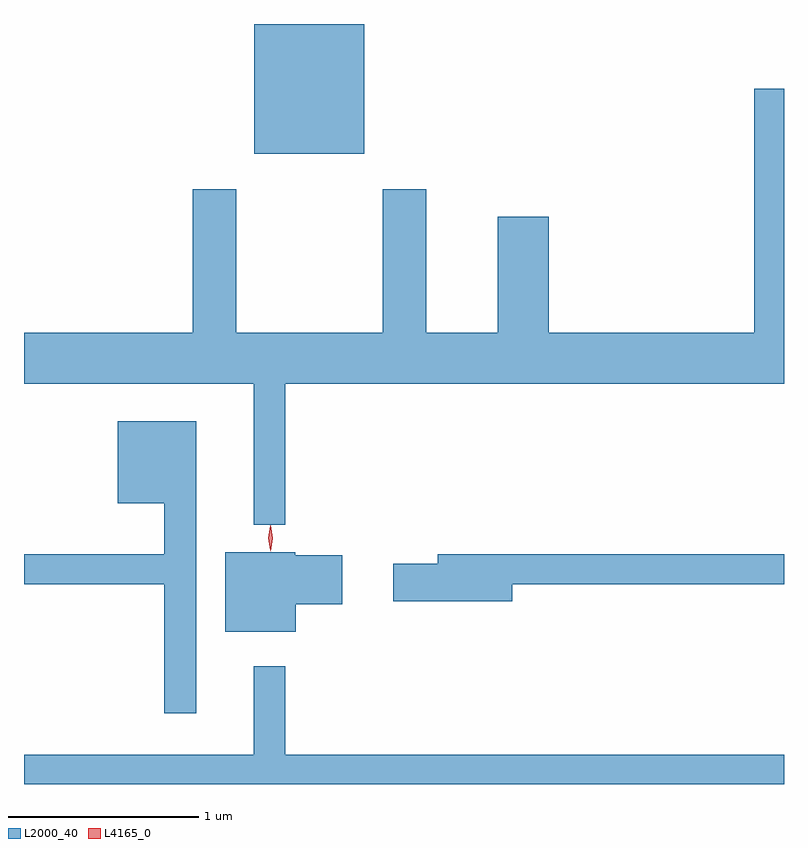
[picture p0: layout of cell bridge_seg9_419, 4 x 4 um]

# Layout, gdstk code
import gdstk
lib = gdstk.Library(unit=1e-6, precision=1e-09)
def R(c, l, rs):  # rectangles x0, y0, x1, y1
    for r in rs: c.add(gdstk.rectangle(r[:2], r[2:], *l))
def P(c, l, *ps):  # polygons
    for p in ps: c.add(gdstk.Polygon(p, *l))
L2000_40 = (2000, 40)
L4165_0 = (4165, 0)

bridge_seg9_419 = lib.new_cell('bridge_seg9_419')
R(bridge_seg9_419, L2000_40, [(393.616,2075.166,394.194,2075.849)])
P(bridge_seg9_419, L2000_40, [(393.779,2073.956),(396.403,2073.956),(396.403,2075.509),(396.246,2075.509),(396.246,2074.224),(395.164,2074.224),(395.164,2074.834),(394.896,2074.834),(394.896,2074.224),(394.519,2074.224),(394.519,2074.979),(394.291,2074.979),(394.291,2074.224),(393.519,2074.224),(393.519,2074.979),(393.291,2074.979),(393.291,2074.224),(392.403,2074.224),(392.403,2073.956),(393.611,2073.956),(393.611,2073.213),(393.779,2073.213)],
  [(393.309,2073.759),(392.896,2073.759),(392.896,2073.326),(393.141,2073.326),(393.141,2073.059),(392.403,2073.059),(392.403,2072.901),(393.141,2072.901),(393.141,2072.222),(393.309,2072.222)],
  [(393.834,2072.796),(394.079,2072.796),(394.079,2073.054),(393.83,2073.054),(393.83,2073.069),(393.461,2073.069),(393.461,2072.651),(393.834,2072.651)],
  [(394.974,2072.901),(396.403,2072.901),(396.403,2073.059),(394.581,2073.059),(394.581,2073.009),(394.346,2073.009),(394.346,2072.811),(394.974,2072.811)],
  [(396.403,2072.004),(393.779,2072.004),(393.779,2072.468),(393.611,2072.468),(393.611,2072.004),(392.403,2072.004),(392.403,2071.849),(396.403,2071.849)])
P(bridge_seg9_419, L4165_0, [(393.701,2073.074),(393.701,2073.075),(393.692,2073.142),(393.701,2073.21),(393.701,2073.21),(393.702,2073.21),(393.711,2073.142),(393.702,2073.075)],
  [(393.698,2073.08),(393.698,2073.08),(393.688,2073.144),(393.698,2073.206),(393.698,2073.207),(393.699,2073.206),(393.708,2073.144),(393.699,2073.08)])

lib.write_gds('bridge_seg9_419.gds')
